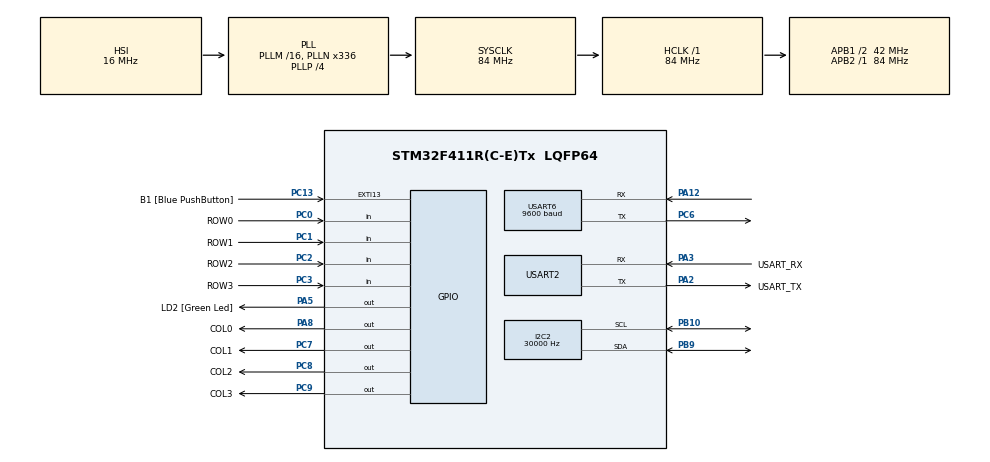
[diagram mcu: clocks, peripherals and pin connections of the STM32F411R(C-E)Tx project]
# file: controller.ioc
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I2C2.ClockSpeed=30000
Mcu.Family=STM32F4
Mcu.Name=STM32F411R(C-E)Tx
Mcu.Package=LQFP64
NVIC.PriorityGroup=NVIC_PRIORITYGROUP_0
NVIC.USART6_IRQn=true\:0\:0\:false\:false\:true\:true\:true\:true
PA12.Mode=Asynchronous
PA12.Signal=USART6_RX
PA13.GPIO_Label=TMS
PA13.Mode=Serial_Wire
PA13.Signal=SYS_JTMS-SWDIO
PA14.GPIO_Label=TCK
PA14.Mode=Serial_Wire
PA14.Signal=SYS_JTCK-SWCLK
PA2.GPIO_Label=USART_TX
PA2.Mode=Asynchronous
PA2.Signal=USART2_TX
PA3.GPIO_Label=USART_RX
PA3.Mode=Asynchronous
PA3.Signal=USART2_RX
PA5.GPIO_Label=LD2 [Green Led]
PA5.Signal=GPIO_Output
PA8.GPIO_Label=COL0
PA8.Signal=GPIO_Output
PB10.Mode=I2C
PB10.Signal=I2C2_SCL
PB3.GPIO_Label=SWO
PB3.Signal=SYS_JTDO-SWO
PB9.Mode=I2C
PB9.Signal=I2C2_SDA
PC0.GPIO_Label=ROW0
PC0.GPIO_PuPd=GPIO_PULLDOWN
PC0.Signal=GPIO_Input
PC1.GPIO_Label=ROW1
PC1.GPIO_PuPd=GPIO_PULLDOWN
PC1.Signal=GPIO_Input
PC13-ANTI_TAMP.GPIO_Label=B1 [Blue PushButton]
PC13-ANTI_TAMP.GPIO_ModeDefaultEXTI=GPIO_MODE_IT_FALLING
PC13-ANTI_TAMP.Signal=GPXTI13
PC14-OSC32_IN.Mode=LSE-External-Oscillator
PC14-OSC32_IN.Signal=RCC_OSC32_IN
PC15-OSC32_OUT.Mode=LSE-External-Oscillator
PC15-OSC32_OUT.Signal=RCC_OSC32_OUT
PC2.GPIO_Label=ROW2
PC2.GPIO_PuPd=GPIO_PULLDOWN
PC2.Signal=GPIO_Input
PC3.GPIO_Label=ROW3
PC3.GPIO_PuPd=GPIO_PULLDOWN
PC3.Signal=GPIO_Input
PC6.Mode=Asynchronous
PC6.Signal=USART6_TX
PC7.GPIO_Label=COL1
PC7.Signal=GPIO_Output
PC8.GPIO_Label=COL2
PC8.Signal=GPIO_Output
PC9.GPIO_Label=COL3
PC9.Signal=GPIO_Output
PH0\ -\ OSC_IN.Mode=HSE-External-Clock-Source
PH0\ -\ OSC_IN.Signal=RCC_OSC_IN
PH1\ -\ OSC_OUT.Mode=HSE-External-Clock-Source
PH1\ -\ OSC_OUT.Signal=RCC_OSC_OUT
ProjectManager.HeapSize=0x200
ProjectManager.StackSize=0x400
ProjectManager.TargetToolchain=STM32CubeIDE
RCC.48MHZClocksFreq_Value=84000000
RCC.AHBFreq_Value=84000000
RCC.APB1CLKDivider=RCC_HCLK_DIV2
RCC.APB1Freq_Value=42000000
RCC.APB1TimFreq_Value=84000000
RCC.APB2Freq_Value=84000000
RCC.APB2TimFreq_Value=84000000
RCC.CortexFreq_Value=84000000
RCC.FLatency-AdvancedSettings=FLASH_LATENCY_2
RCC.HCLKFreq_Value=84000000
RCC.HSE_VALUE=8000000
RCC.HSI_VALUE=16000000
RCC.PLLN=336
RCC.PLLP=RCC_PLLP_DIV4
RCC.SYSCLKFreq_VALUE=84000000
RCC.SYSCLKSource=RCC_SYSCLKSOURCE_PLLCLK
RCC.VCOOutputFreq_Value=336000000
USART2.VirtualMode=VM_ASYNC
USART6.BaudRate=9600
USART6.VirtualMode=VM_ASYNC
board=NUCLEO-F411RE

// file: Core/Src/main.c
/* USER CODE BEGIN Header */
/**
  ******************************************************************************
  * @file           : main.c
  * @brief          : Main program body
  ******************************************************************************
  * @attention
  *
  * Copyright (c) 2022 STMicroelectronics.
  * All rights reserved.
  *
  * This software is licensed under terms that can be found in the LICENSE file
  * in the root directory of this software component.
  * If no LICENSE file comes with this software, it is provided AS-IS.
  *
  ******************************************************************************
  */
/* USER CODE END Header */
#include "main.h"

/* USER CODE BEGIN Includes */
#define LCD_ADDR 0x50
#define UART_buffer_size 20

/* USER CODE END Includes */

 I2C_HandleTypeDef hi2c2;

UART_HandleTypeDef huart2;
UART_HandleTypeDef huart6;

/* USER CODE BEGIN PV */
uint8_t UART6_rxBuffer[UART_buffer_size] = {0};
uint8_t received_data[UART_buffer_size];
/* USER CODE END PV */

void SystemClock_Config(void);
static void MX_GPIO_Init(void);
static void MX_USART2_UART_Init(void);
static void MX_I2C2_Init(void);
static void MX_USART6_UART_Init(void);

/* USER CODE BEGIN 0 */
void HAL_UART_RxCpltCallback(UART_HandleTypeDef *huart)
{
	// received_data[0] = UART6_rxBuffer[0];
	memcpy(received_data, UART6_rxBuffer, UART_buffer_size);
    HAL_UART_Receive_IT(&huart6, UART6_rxBuffer, UART_buffer_size);
}

/* USER CODE END 0 */

int main(void)
{

  /* MCU Configuration--------------------------------------------------------*/

  /* Reset of all peripherals, Initializes the Flash interface and the Systick. */
  HAL_Init();

  /* Configure the system clock */
  SystemClock_Config();

  /* Initialize all configured peripherals */
  MX_GPIO_Init();
  MX_USART2_UART_Init();
  MX_I2C2_Init();
  MX_USART6_UART_Init();
  /* USER CODE BEGIN 2 */
  HAL_UART_Receive_IT(&huart6, UART6_rxBuffer, UART_buffer_size);

  lcdSetBrightness(5);
  lcdDrawMenu();

  /* USER CODE END 2 */

  /* Infinite loop */
  /* USER CODE BEGIN WHILE */
  uint8_t forward[] = {'F', 'O', 'R', 'W', 'A', 'R', 'D', ' '};
  uint8_t backward[] = {'B', 'A', 'C', 'K', 'W', 'A', 'R', 'D'};
  uint8_t left[] = {'L', 'E', 'F', 'T', ' ', ' ', ' ', ' '};
  uint8_t right[] = {'R', 'I', 'G', 'H', 'T', ' ', ' ', ' '};
  uint8_t stopped[] = {'S', 'T', 'O', 'P', 'P', 'E', 'D', ' '};

  uint8_t manual[] = {'M', 'A', 'N', 'U', 'A', 'L', ' ', ' ', ' ', ' '};
  uint8_t autonomous[] = {'A', 'U', 'T', 'O', 'N', 'O', 'M', 'O', 'U', 'S'};
  uint8_t completed[] = {'C', 'O', 'M', 'P', 'L', 'E', 'T', 'E', 'D', ' '};

  uint8_t blankline[] = {' ', ' ', ' ', ' ', ' ', ' ', ' '};

  uint32_t row_ports[] = {ROW0_GPIO_Port, ROW1_GPIO_Port, ROW2_GPIO_Port, ROW3_GPIO_Port};
  uint32_t row_pins[] = {ROW0_Pin, ROW1_Pin, ROW2_Pin, ROW3_Pin};

  uint32_t col_ports[] = {COL0_GPIO_Port, COL1_GPIO_Port, COL2_GPIO_Port, COL3_GPIO_Port};
  uint32_t col_pins[] = {COL0_Pin, COL1_Pin, COL2_Pin, COL3_Pin};

  uint8_t button = '*';

  while (1)
  {
    /* USER CODE END WHILE */

    /* USER CODE BEGIN 3 */

	  // NOTE: With this method, you cannot press the same button twice.
	  // keypad loop

	  // steady state
	  for(uint8_t i = 0; i < 4; i++){
		  HAL_GPIO_WritePin(col_ports[i], col_pins[i], GPIO_PIN_SET);
	  }
	  // read if any input pins are high
	  uint8_t active_row = 5;
	  for(uint8_t i = 0; i < 4; i++){
		  if(HAL_GPIO_ReadPin(row_ports[i], row_pins[i])){
			  active_row = i;
		  }
	  }

	  // only continue if a button is pressed
	  if(active_row < 5){
		  // read and check activated rows
		  // do this by outputting 1-hot on col pins
		  uint8_t active_col = 5;
		  for(uint8_t i = 0; i < 4; i++){
			  // set all col pins to 0
			  for(int j = 0; j < 4; j++){
				  HAL_GPIO_WritePin(col_ports[j], col_pins[j], GPIO_PIN_RESET);
			  }
			  HAL_GPIO_WritePin(col_ports[i], col_pins[i], GPIO_PIN_SET);

			  // if corresponding column is pressed, the active row will be active again
			  uint8_t col = HAL_GPIO_ReadPin(row_ports[active_row], row_pins[active_row]);
			  if(col){
				  active_col = i;
			  }
		  }

		  // now we have the active row and column, we know the button pressed.
		  uint8_t buttons[4][4] = {{'1', '2', '3', 'A'}, {'4', '5', '6', 'B'}, {'7', '8', '9', 'C'}, {'*', '0', '#', 'D'}};
		  uint8_t new_button = buttons[active_row][active_col];
		  if(new_button != button){
			  HAL_UART_Transmit(&huart6, &new_button, sizeof(new_button), 200);
			  button = new_button;
		  }

	  }
	  // end keypad loop

	  char tag = received_data[0];

	  switch(tag){

	  	  // Handle Direction line
	  	  case '$':
	  		  lcdSetCursor(1, 11);
	  		  char direction = received_data[1];

	  		  if(direction == 'L'){
	  			lcdWrite(&left, sizeof(left));
	  		  }
	  	  	  else if(direction == 'R'){
	  	  		lcdWrite(&right, sizeof(right));
	  	  	  }
	  		  else if(direction == 'F'){
	  			lcdWrite(&forward, sizeof(forward));
	  		  }
	  		  else if(direction == 'B'){
	  			lcdWrite(&backward, sizeof(backward));
	  		  }
	  		  else if(direction == 'S'){
	  			lcdWrite(&stopped, sizeof(stopped));
	   		  }
	  		  break;

	  	  // Handle Mode line
	  	  case '&':
	  		  	 lcdSetCursor(0,7);
	  		  	 char mode = received_data[1];

	  		  	 if(mode == 'M'){
	  		  		 lcdWrite(&manual, sizeof(manual));
	  		  		 // Clear location
	  		  		 lcdSetCursor(2, 10);
	  		  		 lcdWrite(&blankline, sizeof(blankline));
	  		  	 }
	  		  	 else if(mode == 'A'){
	  		  		 lcdWrite(&autonomous, sizeof(autonomous));
	  		  	 }
	  		  	 else if(mode == 'C'){
	  		  		 lcdWrite(&completed, sizeof(completed));
	  		  	 }
	  		  break;

	  	  // Handle Location line
	  	  case '@':
	  		  lcdSetCursor(2, 10);
	  		  uint8_t buf[20];
	  		  memcpy(buf, received_data, sizeof(received_data));
	  		  uint8_t x = buf[1];
	  		  uint8_t y = buf[3];
	  		  uint8_t facing = buf[5];
	  		  uint8_t dir[4] = {'N', 'E', 'S', 'W'};
	  		  int index = facing - '0';
	  		  uint8_t location[] = {'(', x, ',', y, ')', ' ', dir[index]};
	  		  lcdWrite(&location, sizeof(location));
	  		  break;

	  	  // Handle wall detection line
	  	  case '%': ; //empty statement
	  		char d = received_data[1];
	  		char di[] = {received_data[6]};
	  		  if(d == 'L'){
	  			lcdSetCursor(3,4);
	  			lcdWrite(&di, sizeof(di));
	  		  }
	  		  else if(d == 'F'){
	  			lcdSetCursor(3,11);
	  			di[0] = received_data[7];
	  			lcdWrite(&di, sizeof(di));
	  		  }
	  		  else if(d == 'R'){
	  			lcdSetCursor(3,18);
	  			di[0] = received_data[7];
	  			lcdWrite(&di, sizeof(di));
	  		  }
	  		  break;

	  	  default:
	  		  break;

	  }

	  // 50Hz
	  HAL_Delay(20);

  }
  /* USER CODE END 3 */
}

void SystemClock_Config(void)
{
  RCC_OscInitTypeDef RCC_OscInitStruct = {0};
  RCC_ClkInitTypeDef RCC_ClkInitStruct = {0};

  /** Configure the main internal regulator output voltage
  */
  __HAL_RCC_PWR_CLK_ENABLE();
  __HAL_PWR_VOLTAGESCALING_CONFIG(PWR_REGULATOR_VOLTAGE_SCALE1);

  /** Initializes the RCC Oscillators according to the specified parameters
  * in the RCC_OscInitTypeDef structure.
  */
  RCC_OscInitStruct.OscillatorType = RCC_OSCILLATORTYPE_HSI;
  RCC_OscInitStruct.HSIState = RCC_HSI_ON;
  RCC_OscInitStruct.HSICalibrationValue = RCC_HSICALIBRATION_DEFAULT;
  RCC_OscInitStruct.PLL.PLLState = RCC_PLL_ON;
  RCC_OscInitStruct.PLL.PLLSource = RCC_PLLSOURCE_HSI;
  RCC_OscInitStruct.PLL.PLLM = 16;
  RCC_OscInitStruct.PLL.PLLN = 336;
  RCC_OscInitStruct.PLL.PLLP = RCC_PLLP_DIV4;
  RCC_OscInitStruct.PLL.PLLQ = 4;
  if (HAL_RCC_OscConfig(&RCC_OscInitStruct) != HAL_OK)
  {
    Error_Handler();
  }

  /** Initializes the CPU, AHB and APB buses clocks
  */
  RCC_ClkInitStruct.ClockType = RCC_CLOCKTYPE_HCLK|RCC_CLOCKTYPE_SYSCLK
                              |RCC_CLOCKTYPE_PCLK1|RCC_CLOCKTYPE_PCLK2;
  RCC_ClkInitStruct.SYSCLKSource = RCC_SYSCLKSOURCE_PLLCLK;
  RCC_ClkInitStruct.AHBCLKDivider = RCC_SYSCLK_DIV1;
  RCC_ClkInitStruct.APB1CLKDivider = RCC_HCLK_DIV2;
  RCC_ClkInitStruct.APB2CLKDivider = RCC_HCLK_DIV1;

  if (HAL_RCC_ClockConfig(&RCC_ClkInitStruct, FLASH_LATENCY_2) != HAL_OK)
  {
    Error_Handler();
  }
}

static void MX_I2C2_Init(void)
{

  hi2c2.Instance = I2C2;
  hi2c2.Init.ClockSpeed = 30000;
  hi2c2.Init.DutyCycle = I2C_DUTYCYCLE_2;
  hi2c2.Init.OwnAddress1 = 0;
  hi2c2.Init.AddressingMode = I2C_ADDRESSINGMODE_7BIT;
  hi2c2.Init.DualAddressMode = I2C_DUALADDRESS_DISABLE;
  hi2c2.Init.OwnAddress2 = 0;
  hi2c2.Init.GeneralCallMode = I2C_GENERALCALL_DISABLE;
  hi2c2.Init.NoStretchMode = I2C_NOSTRETCH_DISABLE;
  if (HAL_I2C_Init(&hi2c2) != HAL_OK)
  {
    Error_Handler();
  }

}

static void MX_USART2_UART_Init(void)
{

  huart2.Instance = USART2;
  huart2.Init.BaudRate = 115200;
  huart2.Init.WordLength = UART_WORDLENGTH_8B;
  huart2.Init.StopBits = UART_STOPBITS_1;
  huart2.Init.Parity = UART_PARITY_NONE;
  huart2.Init.Mode = UART_MODE_TX_RX;
  huart2.Init.HwFlowCtl = UART_HWCONTROL_NONE;
  huart2.Init.OverSampling = UART_OVERSAMPLING_16;
  if (HAL_UART_Init(&huart2) != HAL_OK)
  {
    Error_Handler();
  }

}

static void MX_USART6_UART_Init(void)
{

  huart6.Instance = USART6;
  huart6.Init.BaudRate = 9600;
  huart6.Init.WordLength = UART_WORDLENGTH_8B;
  huart6.Init.StopBits = UART_STOPBITS_1;
  huart6.Init.Parity = UART_PARITY_NONE;
  huart6.Init.Mode = UART_MODE_TX_RX;
  huart6.Init.HwFlowCtl = UART_HWCONTROL_NONE;
  huart6.Init.OverSampling = UART_OVERSAMPLING_16;
  if (HAL_UART_Init(&huart6) != HAL_OK)
  {
    Error_Handler();
  }

}

static void MX_GPIO_Init(void)
{
  GPIO_InitTypeDef GPIO_InitStruct = {0};

  /* GPIO Ports Clock Enable */
  __HAL_RCC_GPIOC_CLK_ENABLE();
  __HAL_RCC_GPIOH_CLK_ENABLE();
  __HAL_RCC_GPIOA_CLK_ENABLE();
  __HAL_RCC_GPIOB_CLK_ENABLE();

  /*Configure GPIO pin Output Level */
  HAL_GPIO_WritePin(GPIOA, LD2_Pin|COL0_Pin, GPIO_PIN_RESET);

  /*Configure GPIO pin Output Level */
  HAL_GPIO_WritePin(GPIOC, COL1_Pin|COL2_Pin|COL3_Pin, GPIO_PIN_RESET);

  /*Configure GPIO pin : B1_Pin */
  GPIO_InitStruct.Pin = B1_Pin;
  GPIO_InitStruct.Mode = GPIO_MODE_IT_FALLING;
  GPIO_InitStruct.Pull = GPIO_NOPULL;
  HAL_GPIO_Init(B1_GPIO_Port, &GPIO_InitStruct);

  /*Configure GPIO pins : ROW0_Pin ROW1_Pin ROW2_Pin ROW3_Pin */
  GPIO_InitStruct.Pin = ROW0_Pin|ROW1_Pin|ROW2_Pin|ROW3_Pin;
  GPIO_InitStruct.Mode = GPIO_MODE_INPUT;
  GPIO_InitStruct.Pull = GPIO_PULLDOWN;
  HAL_GPIO_Init(GPIOC, &GPIO_InitStruct);

  /*Configure GPIO pins : LD2_Pin COL0_Pin */
  GPIO_InitStruct.Pin = LD2_Pin|COL0_Pin;
  GPIO_InitStruct.Mode = GPIO_MODE_OUTPUT_PP;
  GPIO_InitStruct.Pull = GPIO_NOPULL;
  GPIO_InitStruct.Speed = GPIO_SPEED_FREQ_LOW;
  HAL_GPIO_Init(GPIOA, &GPIO_InitStruct);

  /*Configure GPIO pins : COL1_Pin COL2_Pin COL3_Pin */
  GPIO_InitStruct.Pin = COL1_Pin|COL2_Pin|COL3_Pin;
  GPIO_InitStruct.Mode = GPIO_MODE_OUTPUT_PP;
  GPIO_InitStruct.Pull = GPIO_NOPULL;
  GPIO_InitStruct.Speed = GPIO_SPEED_FREQ_LOW;
  HAL_GPIO_Init(GPIOC, &GPIO_InitStruct);

}

void Error_Handler(void)
{
  __disable_irq();
  while (1)
  {
  }
}
